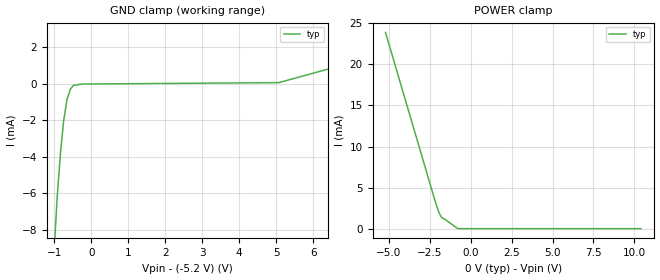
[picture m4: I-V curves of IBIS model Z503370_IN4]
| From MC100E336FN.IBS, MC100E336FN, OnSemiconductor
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| (C) COPYRIGHT 1993-2000
| MENTOR GRAPHICS CORPORATION
| ICX STANDARD LIBRARY, ICX PROJECT MODELING,
| ICX CUSTOM MODELING, ICX VENDOR MODEL
| ALL RIGHTS RESERVED.
| THE FOLLOWING ARE TRADEMARKS OR SERVICE MARKS OF
| MENTOR GRAPHICS CORPORATION:ICX (R), ICX STANDARD
| LIBRARY(R), ICX PROJECT MODELING(R), ICX CUSTOM
| MODELING(R), qualityIBIS(TM), MODELVIEWER(TM),
| AND MODELEDITOR(TM)
| ALL COPIES OF SOFTWARE, INCLUDING BUT NOT LIMITED TO
| ANY MODIFICATIONS, ENHANCEMENTS OR DERIVATIVE WORKS,
| MUST CONTAIN ALL MENTOR GRAPHICS CORPORATION'S
| NOTICES AND LEGENDS, INCLUDING THOSE EMBEDDED IN
| SOFTWARE AND THOSE AFFIXED TO SOFTWARE MEDIUM
| AND CONTAINER, AS RECEIVED FROM MENTOR GRAPHICS
| CORPORATION.
| Model Application Version 1.89 2/18/99.
[Model] Z503370_IN4
Model_type Input_ECL
Vinl = -1.475V
Vinh = -1.165V
C_comp 4.000pF NA NA
| variable typ   min   max
[Voltage Range] -5.200V NA NA
[GND Clamp Reference] -5.200V NA NA
[POWER Clamp Reference] 0.000V NA NA
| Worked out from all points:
|   GND clamp passes 1 mA (typ) near -0.67 V on its own axis
[GND Clamp]
-5.2V     -220.9mA   NA         NA
-1.099V   -12.69mA   NA         NA
-924mV    -6.275mA   NA         NA
-830mV    -3.723mA   NA         NA
-748mV    -2.043mA   NA         NA
-659mV    -888.8uA   NA         NA
-566mV    -308.5uA   NA         NA
-485mV    -94.27uA   NA         NA
-242.5mV  -19.97uA   NA         NA
5.069V    56.53uA    NA         NA
10.4V     3.021mA    NA         NA
[POWER Clamp]
-5.2V     23.89mA    NA         NA
-2.178V   3.413mA    NA         NA
-1.992V   2.285mA    NA         NA
-1.914V   1.878mA    NA         NA
-1.802V   1.443mA    NA         NA
-1.719V   1.282mA    NA         NA
-1.567V   1.135mA    NA         NA
-783.5mV  0A         NA         NA
10.4V     0A         NA         NA
